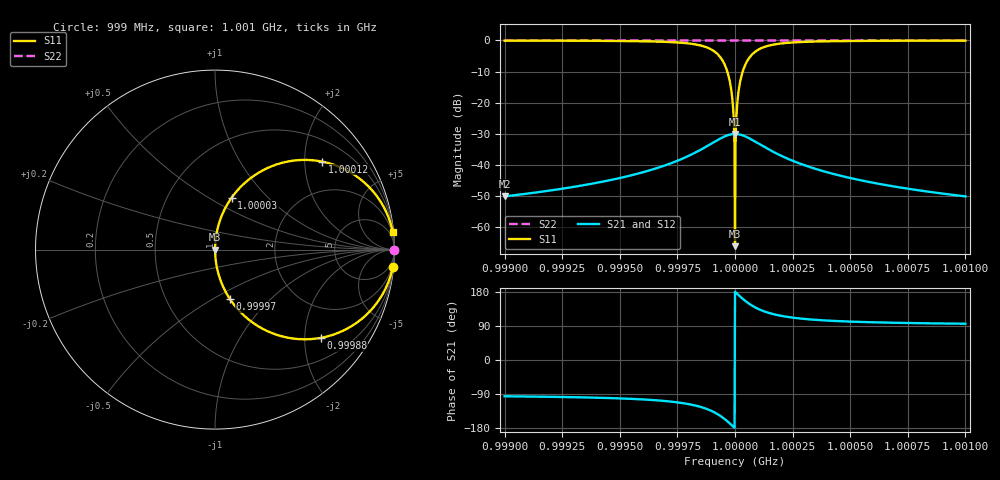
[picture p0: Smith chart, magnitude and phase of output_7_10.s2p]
! File generated for n1 = 7, n2 = 10
! b1 = 1.000000
! b2 = 0.001000
! Q0 = 10000.000000
! f0 = 1000000000.000000
! n = 1001
! rel_span = 10.000000
# Hz S RI R 50
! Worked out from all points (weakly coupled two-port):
!   1001 points, 999 MHz to 1.001 GHz, reference 50 ohm
!   highest |S21| = -30.00 dB at 1 GHz (marker M1); lowest = -50.1 dB at 999 MHz (marker M2)
!   lowest |S11| = -66.0 dB at 1 GHz (marker M3), VSWR 1.00, Z = 50.1 + j0 ohm
!   |S11| at or under -10 dB: 999.9666 MHz to 1.000033 GHz (66.73 kHz wide, 0.00667 % of centre)
!   |S22| runs from 0.0 to 0.0 dB; largest |S21 - S12| = 0
!   S11 on the Smith chart (normalised r, x): 999 MHz: 1, -20; 999.88 MHz: 1.00, -2.40; 999.97 MHz: 1.00, -0.60; 1.00003 GHz: 1.00, +0.64; 1.00012 GHz: 1.00, +2.44; 1.001 GHz: 1, +20
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9.989995e8  0.9901 -0.0989  -0.000313 -0.00313  -0.000313 -0.00313  1 -9.89e-05
9.993337e8  0.978 -0.1467  -0.000696 -0.00464  -0.000696 -0.00464  1 -0.000147
9.996678e8  0.9169 -0.276  -0.00263 -0.00873  -0.00263 -0.00873  0.9999 -0.000276
9.997959e8  0.8064 -0.395  -0.00612 -0.0125  -0.00612 -0.0125  0.9998 -0.000395
9.998799e8  0.5904 -0.4916  -0.013 -0.0155  -0.013 -0.0155  0.9996 -0.000492
9.99936e8  0.2909 -0.4538  -0.0224 -0.0144  -0.0224 -0.0144  0.9993 -0.000454
9.9997e8  0.083 -0.2751  -0.029 -0.0087  -0.029 -0.0087  0.9991 -0.000275
9.99984e8  0.0254 -0.1559  -0.0308 -0.00493  -0.0308 -0.00493  0.999 -0.000156
9.99988e8  0.0147 -0.1182  -0.0312 -0.00374  -0.0312 -0.00374  0.999 -0.000118
9.99992e8  0.00686 -0.0795  -0.0314 -0.00251  -0.0314 -0.00251  0.999 -7.95e-05
1e9  0.0005 0  -0.0316 0  -0.0316 0  0.999 0
1.000008e9  0.00686 0.0795  -0.0314 0.00251  -0.0314 0.00251  0.999 7.95e-05
1.00001e9  0.0104 0.099  -0.0313 0.00313  -0.0313 0.00313  0.999 9.9e-05
1.000012e9  0.0147 0.1182  -0.0312 0.00374  -0.0312 0.00374  0.999 0.000118
1.000018e9  0.0319 0.1743  -0.0306 0.00551  -0.0306 0.00551  0.999 0.000174
1.000032e9  0.0933 0.2901  -0.0287 0.00917  -0.0287 0.00917  0.9991 0.00029
1.000066e9  0.3038 0.4595  -0.022 0.0145  -0.022 0.0145  0.9993 0.00046
1.000122e9  0.5983 0.49  -0.0127 0.0155  -0.0127 0.0155  0.9996 0.00049
1.000206e9  0.8094 0.3927  -0.00603 0.0124  -0.00603 0.0124  0.9998 0.000393
1.000334e9  0.9177 0.2747  -0.0026 0.00869  -0.0026 0.00869  0.9999 0.000275
1.000668e9  0.9781 0.1464  -0.000693 0.00463  -0.000693 0.00463  1 0.000146
1.001e9  0.9901 0.099  -0.000313 0.00313  -0.000313 0.00313  1 9.9e-05
